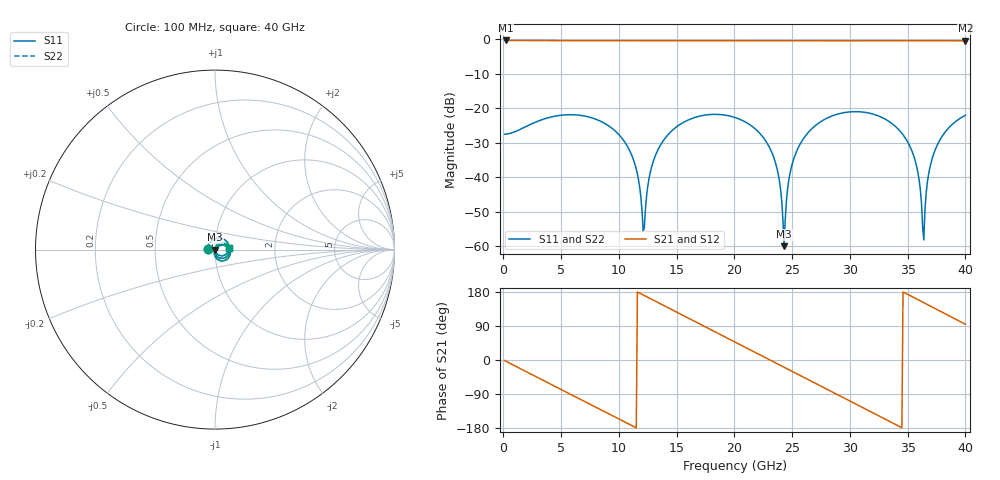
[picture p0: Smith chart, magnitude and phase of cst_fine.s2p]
! thru_ts6_L6: 2×thru, L6, 8 mm
! stackup: ThunderScope Rev5.3 6-layer (FR408HR / FR-4, from the board file)
! ports: 1, 2
! CST Studio Suite 2025.5 Release from 2025-05-30, time domain (FIT, hexahedral, PBA), 191862 mesh cells, 38 s
! mesh: {'lpw': 30.0, 'lpb': 30.0, 'minstep': 0.0, 'ratio': 20}; ports: port 1 (face); port 2 (face)
! interpolated from CST's 1001 samples to the case grid
# Hz S RI R 50
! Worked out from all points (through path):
!   400 points, 100 MHz to 40 GHz, reference 50 ohm
!   highest |S21| = -0.37 dB at 200 MHz (marker M1); lowest = -0.5 dB at 40 GHz (marker M2)
!   group delay of S21, straight-line fit = 43.4 ps
!   lowest |S11| = -60.0 dB at 24.3 GHz (marker M3), VSWR 1.00, Z = 50.1 - j0.0231 ohm
!   |S11| at or under -10 dB: start of sweep to end of sweep
!   |S22| runs from -60.0 to -21.0 dB; largest |S21 - S12| = 3.2e-07
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1e8  -0.0417 0.00308  0.9578 -0.0262  0.9578 -0.0262  -0.0417 0.00308
2e8  -0.0415 0.00615  0.9567 -0.0524  0.9567 -0.0524  -0.0415 0.00615
6.8e9  0.078 0.00281  -0.2607 -0.9144  -0.2607 -0.9144  0.078 0.00281
1.08e10  0.0117 -0.024  -0.9321 -0.1972  -0.9321 -0.1972  0.0117 -0.024
1.17e10  0.00266 -0.00867  -0.9526 0.035  -0.9526 0.035  0.00266 -0.00867
1.21e10  0.00144 -0.000811  -0.9433 0.1385  -0.9433 0.1385  0.00144 -0.000811
1.26e10  0.00249 0.00909  -0.9158 0.2655  -0.9158 0.2655  0.00249 0.00909
1.34e10  0.00982 0.0233  -0.8364 0.4574  -0.8364 0.4574  0.00982 0.0233
1.68e10  0.0727 0.0191  -0.1365 0.9407  -0.1365 0.9407  0.0727 0.0191
2.01e10  0.0577 -0.0442  0.6493 0.6933  0.6493 0.6933  0.0577 -0.0442
2.33e10  0.00144 -0.0215  0.9505 -0.0524  0.9505 -0.0524  0.00144 -0.0215
2.4e10  -0.000139 -0.0066  0.9233 -0.2326  0.9233 -0.2326  -0.000139 -0.0066
2.43e10  0.00097 -0.000231  0.9011 -0.3077  0.9011 -0.3077  0.00097 -0.00023
2.49e10  0.00628 0.0116  0.8385 -0.451  0.8385 -0.451  0.00628 0.0116
2.67e10  0.0404 0.0298  0.5242 -0.7934  0.5242 -0.7934  0.0404 0.0298
2.99e10  0.0855 -0.0205  -0.2718 -0.908  -0.2718 -0.908  0.0855 -0.0205
3.34e10  0.0235 -0.0594  -0.8999 -0.3014  -0.8999 -0.3014  0.0235 -0.0594
3.56e10  -0.0036 -0.0182  -0.9131 0.2646  -0.9131 0.2646  -0.0036 -0.0182
3.64e10  0.00118 0.000332  -0.8331 0.4582  -0.8331 0.4582  0.00118 0.000332
3.66e10  0.00364 0.00452  -0.8065 0.5035  -0.8065 0.5035  0.00364 0.00452
3.72e10  0.0136 0.0152  -0.7123 0.6294  -0.7123 0.6294  0.0136 0.0152
4e10  0.0783 0.00818  -0.0712 0.9446  -0.0712 0.9446  0.0783 0.00818
